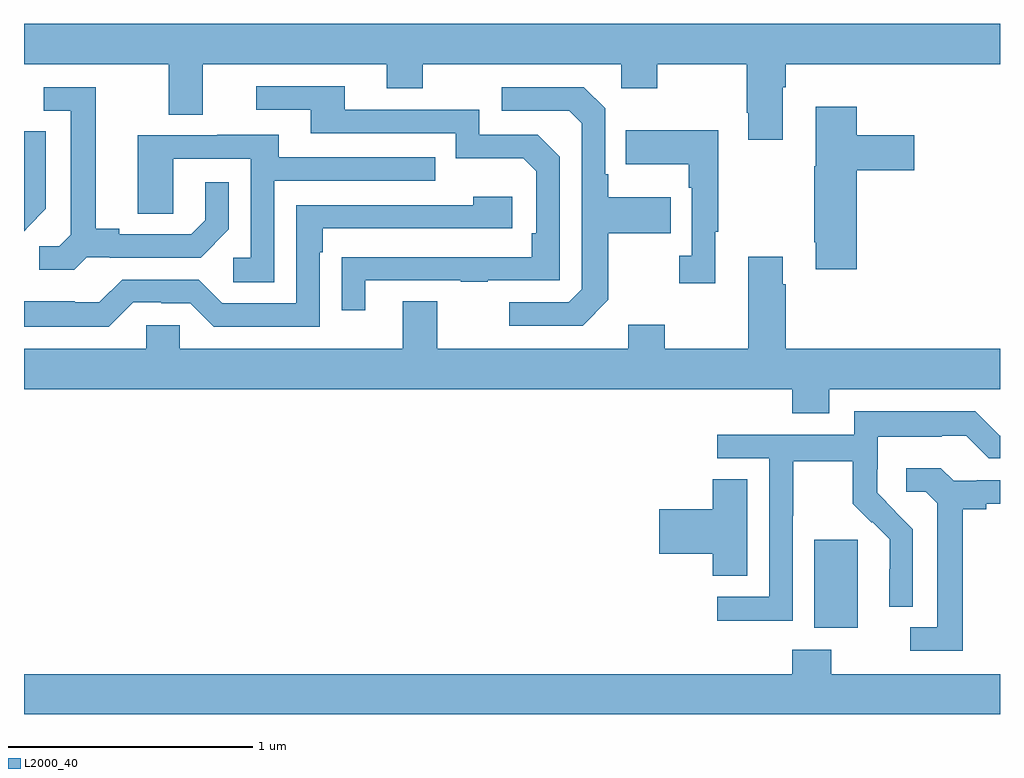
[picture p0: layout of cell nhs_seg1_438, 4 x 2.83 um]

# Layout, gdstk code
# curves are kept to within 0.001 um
import gdstk
lib = gdstk.Library(unit=1e-6, precision=1e-09)
def R(c, l, rs):  # rectangles x0, y0, x1, y1
    for r in rs: c.add(gdstk.rectangle(r[:2], r[2:], *l))
def P(c, l, *ps):  # polygons
    for p in ps: c.add(gdstk.Polygon(p, *l))
L2000_40 = (2000, 40)

nhs_seg1_438 = lib.new_cell('nhs_seg1_438')
R(nhs_seg1_438, L2000_40, [(138.239,542.762,138.418,543.123)])
P(nhs_seg1_438, L2000_40, [(138.109,544.976),(138.122,544.976),(138.122,545.072),(139,545.072),(139,545.236),(135,545.236),(135,545.072),(135.593,545.072),(135.593,544.864),(135.733,544.864),(135.733,545.072),(136.487,545.072),(136.487,544.973),(136.635,544.973),(136.635,545.072),(137.448,545.072),(137.448,544.973),(137.595,544.973),(137.595,545.072),(137.962,545.072),(137.962,544.873),(137.969,544.873),(137.969,544.761),(138.109,544.761)],
  [(136.399,544.185),(136.789,544.185),(136.789,544.18),(136.901,544.18),(136.901,544.185),(137.196,544.185),(137.196,544.692),(137.106,544.782),(136.866,544.782),(136.866,544.884),(136.315,544.884),(136.315,544.98),(135.951,544.98),(135.951,544.884),(136.175,544.884),(136.175,544.788),(136.77,544.788),(136.77,544.685),(137.047,544.685),(137.1,544.632),(137.1,544.378),(137.08,544.378),(137.08,544.281),(136.303,544.28),(136.303,544.062),(136.399,544.062)],
  [(137.395,544.105),(137.395,544.378),(137.651,544.378),(137.651,544.525),(137.395,544.525),(137.395,544.621),(137.382,544.621),(137.382,544.89),(137.295,544.977),(136.959,544.977),(136.959,544.881),(137.235,544.881),(137.286,544.83),(137.286,544.149),(137.232,544.095),(136.989,544.095),(136.989,543.999),(137.289,543.999)],
  [(135.258,544.281),(135.352,544.281),(135.352,544.278),(135.724,544.278),(135.84,544.394),(135.84,544.588),(135.743,544.588),(135.743,544.431),(135.686,544.374),(135.391,544.374),(135.391,544.397),(135.295,544.397),(135.295,544.977),(135.081,544.977),(135.081,544.881),(135.191,544.881),(135.191,544.373),(135.144,544.326),(135.063,544.326),(135.063,544.229),(135.206,544.229)],
  [(138.413,544.637),(138.649,544.637),(138.649,544.779),(138.413,544.779),(138.413,544.897),(138.245,544.897),(138.245,544.653),(138.238,544.653),(138.238,544.342),(138.245,544.342),(138.245,544.23),(138.413,544.23)],
  [(137.833,544.385),(137.845,544.385),(137.845,544.801),(137.467,544.801),(137.467,544.661),(137.724,544.661),(137.724,544.565),(137.736,544.565),(137.736,544.286),(137.685,544.286),(137.685,544.173),(137.833,544.173)],
  [(135.018,544.404),(135.017,544.405),(135.09,544.478),(135.09,544.796),(135,544.796),(135,544.386)],
  [(136.026,544.593),(136.685,544.593),(136.685,544.689),(136.045,544.689),(136.045,544.783),(135.791,544.783),(135.791,544.779),(135.467,544.779),(135.467,544.459),(135.612,544.459),(135.612,544.683),(135.93,544.683),(135.93,544.278),(135.858,544.278),(135.858,544.177),(136.026,544.177)],
  [(135.447,544.095),(135.563,544.095),(135.563,544.092),(135.681,544.092),(135.777,543.996),(136.212,543.996),(136.212,544.301),(136.225,544.301),(136.225,544.398),(137.002,544.398),(137.002,544.528),(136.841,544.528),(136.841,544.494),(136.116,544.494),(136.116,544.092),(135.813,544.092),(135.717,544.188),(135.402,544.188),(135.309,544.095),(135.209,544.095),(135.209,544.099),(135,544.099),(135,543.995),(135.347,543.995)],
  [(137.969,544.282),(137.969,543.904),(137.625,543.904),(137.625,544.003),(137.477,544.003),(137.477,543.904),(136.693,543.904),(136.693,544.099),(136.553,544.099),(136.553,543.904),(135.639,543.904),(135.639,544.002),(135.501,544.002),(135.501,543.904),(135,543.904),(135,543.74),(138.149,543.74),(138.149,543.641),(138.301,543.641),(138.301,543.74),(139,543.74),(139,543.904),(138.122,543.904),(138.122,544.169),(138.109,544.169),(138.109,544.282)],
  [(138.15,543.22),(138.153,543.22),(138.153,543.444),(138.397,543.444),(138.397,543.269),(138.474,543.192),(138.477,543.195),(138.548,543.125),(138.548,543.002),(138.546,543.002),(138.546,542.848),(138.642,542.848),(138.642,543.166),(138.496,543.314),(138.496,543.411),(138.498,543.411),(138.498,543.545),(138.761,543.545),(138.761,543.549),(138.861,543.549),(138.954,543.456),(139,543.456),(139,543.549),(138.899,543.649),(138.402,543.649),(138.402,543.552),(137.841,543.552),(137.841,543.456),(138.054,543.456),(138.054,542.889),(137.841,542.889),(137.841,542.791),(138.15,542.791)],
  [(138.847,543.248),(138.943,543.248),(138.943,543.27),(139,543.27),(139,543.366),(138.904,543.366),(138.904,543.363),(138.81,543.363),(138.758,543.415),(138.615,543.415),(138.615,543.318),(138.696,543.318),(138.743,543.271),(138.743,542.763),(138.633,542.763),(138.633,542.667),(138.847,542.667)],
  [(137.965,543.371),(137.822,543.371),(137.822,543.248),(137.604,543.248),(137.604,543.065),(137.822,543.065),(137.822,542.974),(137.965,542.974)],
  [(139,542.572),(138.309,542.572),(138.309,542.671),(138.149,542.671),(138.149,542.572),(135,542.572),(135,542.408),(139,542.408)])

lib.write_gds('nhs_seg1_438.gds')
